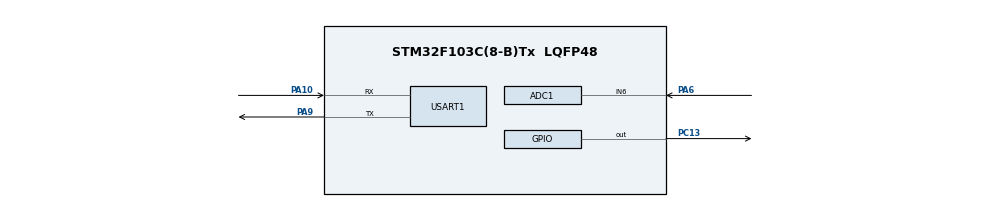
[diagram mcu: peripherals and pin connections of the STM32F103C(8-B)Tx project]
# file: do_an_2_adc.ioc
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ADC1.Channel-1\#ChannelRegularConversion=ADC_CHANNEL_6
ADC1.ContinuousConvMode=DISABLE
ADC1.NbrOfConversionFlag=1
ADC1.Rank-1\#ChannelRegularConversion=1
ADC1.SamplingTime-1\#ChannelRegularConversion=ADC_SAMPLETIME_1CYCLE_5
ADC1.master=1
Mcu.Family=STM32F1
Mcu.Name=STM32F103C(8-B)Tx
Mcu.Package=LQFP48
NVIC.PriorityGroup=NVIC_PRIORITYGROUP_4
PA10.Mode=Asynchronous
PA10.Signal=USART1_RX
PA6.Signal=ADCx_IN6
PA9.Mode=Asynchronous
PA9.Signal=USART1_TX
PC13-TAMPER-RTC.Signal=GPIO_Output
ProjectManager.HeapSize=0x200
ProjectManager.StackSize=0x400
ProjectManager.TargetToolchain=STM32CubeIDE
RCC.APB1Freq_Value=8000000
RCC.APB2Freq_Value=8000000
SH.ADCx_IN6.0=ADC1_IN6,IN6
USART1.VirtualMode=VM_ASYNC
board=custom

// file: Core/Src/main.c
/* USER CODE BEGIN Header */
/**
  ******************************************************************************
  * @file           : main.c
  * @brief          : Main program body
  ******************************************************************************
  * @attention
  *
  * Copyright (c) 2023 STMicroelectronics.
  * All rights reserved.
  *
  * This software is licensed under terms that can be found in the LICENSE file
  * in the root directory of this software component.
  * If no LICENSE file comes with this software, it is provided AS-IS.
  *
  ******************************************************************************
  */
/* USER CODE END Header */
#include "main.h"

/* USER CODE BEGIN PD */
uint32_t var = 0;
#include<string.h>
#include<stdio.h>
/* USER CODE END PD */

ADC_HandleTypeDef hadc1;

UART_HandleTypeDef huart1;

void SystemClock_Config(void);
static void MX_GPIO_Init(void);
static void MX_ADC1_Init(void);
static void MX_USART1_UART_Init(void);

int main(void)
{

  /* MCU Configuration--------------------------------------------------------*/

  /* Reset of all peripherals, Initializes the Flash interface and the Systick. */
  HAL_Init();

  /* Configure the system clock */
  SystemClock_Config();

  /* Initialize all configured peripherals */
  MX_GPIO_Init();
  MX_ADC1_Init();
  MX_USART1_UART_Init();
  /* USER CODE BEGIN 2 */
  char buffer[50];
  /* USER CODE END 2 */

  /* Infinite loop */
  /* USER CODE BEGIN WHILE */
  while (1)
  {
	  HAL_ADC_Start(&hadc1);
	  HAL_Delay(50);
	  var = HAL_ADC_GetValue(&hadc1);
	  sprintf(buffer, "%ld", var);
	  HAL_UART_Transmit(&huart1, buffer, strlen(buffer), 10);
	  for(int i=0;i< strlen(buffer);i++) {
		  buffer[i] = 0;
	  }
	  if(var < 200)
	  {
		  HAL_GPIO_WritePin(GPIOC, GPIO_PIN_13, 1);
	  }
	  else{
	  HAL_GPIO_WritePin(GPIOC, GPIO_PIN_13, 0);
	  }
	  HAL_Delay(2000);
    /* USER CODE END WHILE */

  }
}

void SystemClock_Config(void)
{
  RCC_OscInitTypeDef RCC_OscInitStruct = {0};
  RCC_ClkInitTypeDef RCC_ClkInitStruct = {0};
  RCC_PeriphCLKInitTypeDef PeriphClkInit = {0};

  /** Initializes the RCC Oscillators according to the specified parameters
  * in the RCC_OscInitTypeDef structure.
  */
  RCC_OscInitStruct.OscillatorType = RCC_OSCILLATORTYPE_HSI;
  RCC_OscInitStruct.HSIState = RCC_HSI_ON;
  RCC_OscInitStruct.HSICalibrationValue = RCC_HSICALIBRATION_DEFAULT;
  RCC_OscInitStruct.PLL.PLLState = RCC_PLL_NONE;
  if (HAL_RCC_OscConfig(&RCC_OscInitStruct) != HAL_OK)
  {
    Error_Handler();
  }

  /** Initializes the CPU, AHB and APB buses clocks
  */
  RCC_ClkInitStruct.ClockType = RCC_CLOCKTYPE_HCLK|RCC_CLOCKTYPE_SYSCLK
                              |RCC_CLOCKTYPE_PCLK1|RCC_CLOCKTYPE_PCLK2;
  RCC_ClkInitStruct.SYSCLKSource = RCC_SYSCLKSOURCE_HSI;
  RCC_ClkInitStruct.AHBCLKDivider = RCC_SYSCLK_DIV1;
  RCC_ClkInitStruct.APB1CLKDivider = RCC_HCLK_DIV1;
  RCC_ClkInitStruct.APB2CLKDivider = RCC_HCLK_DIV1;

  if (HAL_RCC_ClockConfig(&RCC_ClkInitStruct, FLASH_LATENCY_0) != HAL_OK)
  {
    Error_Handler();
  }
  PeriphClkInit.PeriphClockSelection = RCC_PERIPHCLK_ADC;
  PeriphClkInit.AdcClockSelection = RCC_ADCPCLK2_DIV2;
  if (HAL_RCCEx_PeriphCLKConfig(&PeriphClkInit) != HAL_OK)
  {
    Error_Handler();
  }
}

static void MX_ADC1_Init(void)
{

  ADC_ChannelConfTypeDef sConfig = {0};

  /** Common config
  */
  hadc1.Instance = ADC1;
  hadc1.Init.ScanConvMode = ADC_SCAN_DISABLE;
  hadc1.Init.ContinuousConvMode = DISABLE;
  hadc1.Init.DiscontinuousConvMode = DISABLE;
  hadc1.Init.ExternalTrigConv = ADC_SOFTWARE_START;
  hadc1.Init.DataAlign = ADC_DATAALIGN_RIGHT;
  hadc1.Init.NbrOfConversion = 1;
  if (HAL_ADC_Init(&hadc1) != HAL_OK)
  {
    Error_Handler();
  }

  /** Configure Regular Channel
  */
  sConfig.Channel = ADC_CHANNEL_6;
  sConfig.Rank = ADC_REGULAR_RANK_1;
  sConfig.SamplingTime = ADC_SAMPLETIME_1CYCLE_5;
  if (HAL_ADC_ConfigChannel(&hadc1, &sConfig) != HAL_OK)
  {
    Error_Handler();
  }

}

static void MX_USART1_UART_Init(void)
{

  huart1.Instance = USART1;
  huart1.Init.BaudRate = 115200;
  huart1.Init.WordLength = UART_WORDLENGTH_8B;
  huart1.Init.StopBits = UART_STOPBITS_1;
  huart1.Init.Parity = UART_PARITY_NONE;
  huart1.Init.Mode = UART_MODE_TX_RX;
  huart1.Init.HwFlowCtl = UART_HWCONTROL_NONE;
  huart1.Init.OverSampling = UART_OVERSAMPLING_16;
  if (HAL_UART_Init(&huart1) != HAL_OK)
  {
    Error_Handler();
  }

}

static void MX_GPIO_Init(void)
{
  GPIO_InitTypeDef GPIO_InitStruct = {0};

  /* GPIO Ports Clock Enable */
  __HAL_RCC_GPIOC_CLK_ENABLE();
  __HAL_RCC_GPIOA_CLK_ENABLE();

  /*Configure GPIO pin Output Level */
  HAL_GPIO_WritePin(GPIOC, GPIO_PIN_13, GPIO_PIN_RESET);

  /*Configure GPIO pin : PC13 */
  GPIO_InitStruct.Pin = GPIO_PIN_13;
  GPIO_InitStruct.Mode = GPIO_MODE_OUTPUT_PP;
  GPIO_InitStruct.Pull = GPIO_NOPULL;
  GPIO_InitStruct.Speed = GPIO_SPEED_FREQ_LOW;
  HAL_GPIO_Init(GPIOC, &GPIO_InitStruct);

}

void Error_Handler(void)
{
  __disable_irq();
  while (1)
  {
  }
}
